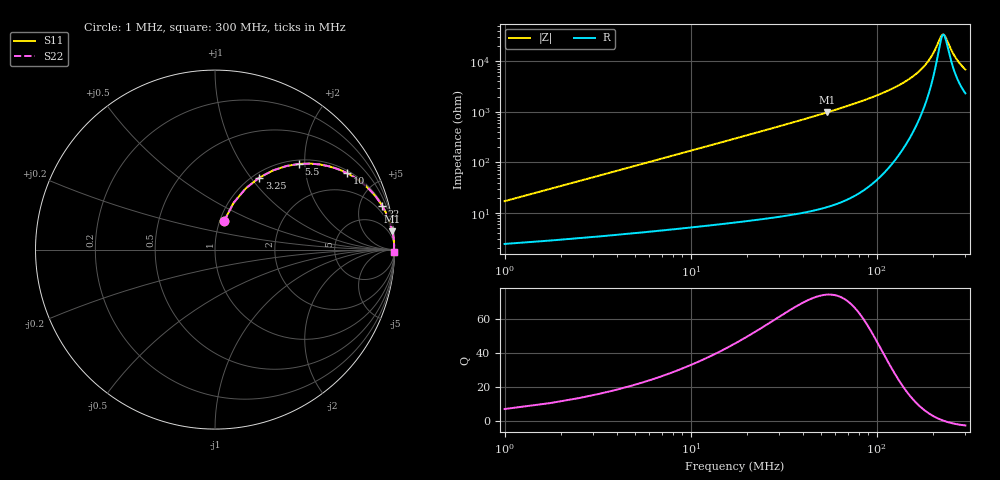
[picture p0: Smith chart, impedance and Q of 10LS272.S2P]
! Coilcraft 1008LS-272 Chip Inductor
! 5 August 2002
# MHZ S MA R 50
!Freq  MagS11  AngS11  MagS21  AngS21  MagS12  AngS12  MagS22  AngS22
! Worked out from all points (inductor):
!   400 points, 1 MHz to 300 MHz, reference 50 ohm
!   read as one part in series: L = 2.7 uH near 2.5 MHz
!   highest Q = 74.5 at 54.25 MHz (marker M1), where L = 2.86 uH
!   self-resonance near 229 MHz
!   S11 on the Smith chart (normalised r, x): 1 MHz: 1.05, +0.34; 3.25 MHz: 1.07, +1.10; 5.5 MHz: 1.08, +1.87; 10 MHz: 1.10, +3.40; 22 MHz: 1.14, +7.53; 300 MHz: open
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1  0.1651 72.4  0.963 -9.4  0.963 -9.4  0.1651 72.4
1.75  0.2786 68.4  0.9341 -16.1  0.9341 -16.1  0.2786 68.4
2.5  0.3813 63.4  0.8964 -22.3  0.8964 -22.3  0.3813 63.4
3.25  0.4713 58.4  0.853 -28.1  0.853 -28.1  0.4713 58.4
5.5  0.6682 45.6  0.715 -41.9  0.715 -41.9  0.6682 45.6
7.75  0.7831 36.5  0.5946 -51.5  0.5946 -51.5  0.7831 36.5
10  0.8508 30.0  0.5003 -58.3  0.5003 -58.3  0.8508 30.0
14.5  0.9192 21.8  0.3721 -66.8  0.3721 -66.8  0.9192 21.8
22  0.962 14.8  0.2553 -74.1  0.2553 -74.1  0.962 14.8
34.75  0.9841 9.4  0.163 -79.7  0.163 -79.7  0.9841 9.4
51.25  0.9926 6.2  0.1084 -83.0  0.1084 -83.0  0.9926 6.2
54.25  0.9934 5.8  0.1018 -83.4  0.1018 -83.4  0.9934 5.8
100.75  0.9979 2.7  0.04698 -86.1  0.04698 -86.1  0.9979 2.7
151  0.9983 1.3  0.02197 -84.9  0.02197 -84.9  0.9983 1.3
179.5  0.998 0.7  0.0127 -80.5  0.0127 -80.5  0.998 0.7
200.5  0.9976 0.4  0.007186 -70.6  0.007186 -70.6  0.9976 0.4
220.75  0.9972 0.1  0.003353 -33.9  0.003353 -33.9  0.9972 0.1
226.75  0.9971 0.0  0.002963 -10.0  0.002963 -10.0  0.9971 0.0
233.5  0.9969 -0.1  0.003228 17.5  0.003228 17.5  0.9969 -0.1
250.75  0.9965 -0.3  0.005769 52.3  0.005769 52.3  0.9965 -0.3
271.75  0.9959 -0.5  0.009565 64.3  0.009565 64.3  0.9959 -0.5
300  0.995 -0.8  0.01455 69.5  0.01455 69.5  0.995 -0.8
